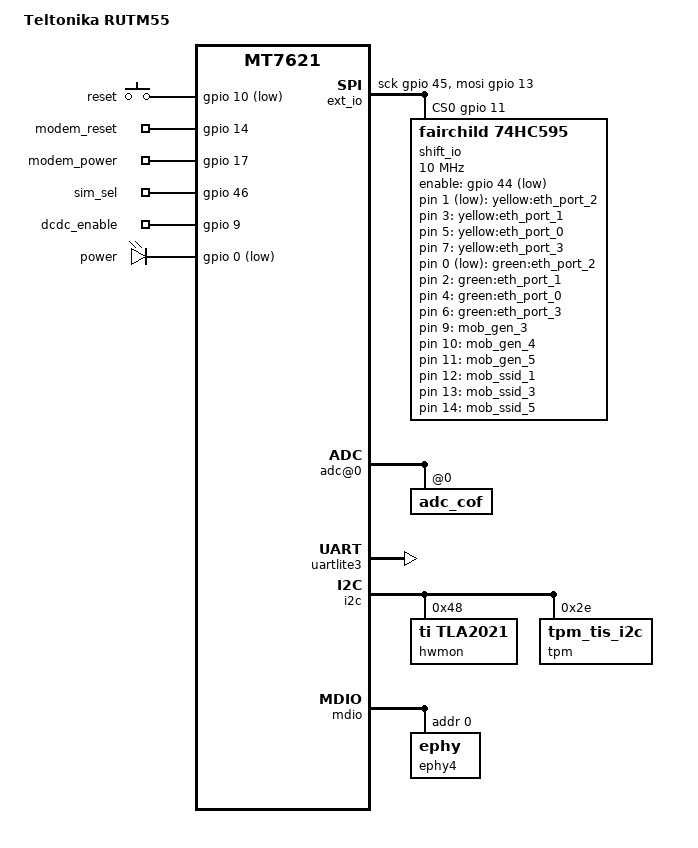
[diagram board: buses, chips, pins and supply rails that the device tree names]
#include "mt7621-teltonika-rutm-common.dtsi"

/ {
	compatible = "teltonika,rutm", "mediatek,mt7621-soc";
	model = "Teltonika RUTM55";

	ext_io {
		compatible = "spi-gpio";
		#address-cells = <1>;
		#size-cells = <0>;

		gpio-sck = <&gpio 45 GPIO_ACTIVE_HIGH>;	// 74HC595 SRCLK (Serial Clock)
		gpio-mosi = <&gpio 13 GPIO_ACTIVE_HIGH>;	// 74HC595 SER (Serial)
		cs-gpios = <&gpio 11 GPIO_ACTIVE_HIGH>;	// 74HC595 RCLK (Register Clock)
		num-chipselects = <1>;

		shift_io: shift_io@0 {
			compatible = "fairchild,74hc595";
			reg = <0>;
			gpio-controller;
			#gpio-cells = <2>;
			registers-number = <2>;
			spi-max-frequency = <10000000>;
			enable-gpios = <&gpio 44 GPIO_ACTIVE_LOW>;

		};
	};

	keys {
		compatible = "gpio-keys";

		reset {
			label = "reset";
			gpios = <&gpio 10 GPIO_ACTIVE_LOW>;
			linux,code = <KEY_RESTART>;
		};
	};

	gpio-export {
		compatible = "gpio-export";
		#size-cells = <0>;

		gpio_modem_reset {
			gpio-export,name = "modem_reset";
			gpio-export,output = <0>;
			gpios = <&gpio 14 GPIO_ACTIVE_HIGH>;
		};

		gpio_modem_power {
			gpio-export,name = "modem_power";
			gpio-export,output = <1>; // tmp
			gpios = <&gpio 17 GPIO_ACTIVE_HIGH>;
		};

		gpio_sim_select {
			gpio-export,name = "sim_sel";
			gpio-export,output = <1>;
			gpios = <&gpio 46 GPIO_ACTIVE_HIGH>;
		};

		gpio_dcdc_enable{
			gpio-export,name = "dcdc_enable";
			gpio-export,output = <0>;
			gpios = <&gpio 9 GPIO_ACTIVE_HIGH>;
		};

		/*--------------------*/
		/*-  FOR TEST BATCH  -*/
		/*--------------------*/
		/*yellow_eth_port_3 {*/
			/*gpio-export,name = "yellow:eth_port_3";*/
			/*gpio-export,output = <1>;*/
			/*gpios = <&shift_io 1 GPIO_ACTIVE_LOW>;*/
		/*};*/

		/*yellow_eth_port_2 {*/
			/*gpio-export,name = "yellow:eth_port_2";*/
			/*gpio-export,output = <0>;*/
			/*gpios = <&shift_io 3 GPIO_ACTIVE_HIGH>;*/
		/*};*/

		/*yellow_eth_port_1 {*/
			/*gpio-export,name = "yellow:eth_port_1";*/
			/*gpio-export,output = <0>;*/
			/*gpios = <&shift_io 5 GPIO_ACTIVE_HIGH>;*/
		/*};*/

		/*yellow_eth_port_0 {*/
			/*gpio-export,name = "yellow:eth_port_0";*/
			/*gpio-export,output = <0>;*/
			/*gpios = <&shift_io 7 GPIO_ACTIVE_HIGH>;*/
		/*};*/

		/*green_eth_port_3 {*/
			/*gpio-export,name = "green:eth_port_3";*/
			/*gpio-export,output = <1>;*/
			/*gpios = <&shift_io 0 GPIO_ACTIVE_LOW>;*/
		/*};*/

		/*green_eth_port_2 {*/
			/*gpio-export,name = "green:eth_port_2";*/
			/*gpio-export,output = <0>;*/
			/*gpios = <&shift_io 2 GPIO_ACTIVE_HIGH>;*/
		/*};*/

		/*green_eth_port_1 {*/
			/*gpio-export,name = "green:eth_port_1";*/
			/*gpio-export,output = <0>;*/
			/*gpios = <&shift_io 4 GPIO_ACTIVE_HIGH>;*/
		/*};*/

		/*green_eth_port_0 {*/
			/*gpio-export,name = "green:eth_port_0";*/
			/*gpio-export,output = <0>;*/
			/*gpios = <&shift_io 6 GPIO_ACTIVE_HIGH>;*/
		/*};*/
		/*------------------------*/
		/*-  FOR TEST BATCH END  -*/
		/*------------------------*/

		/*--------------------*/
		/*-  FOR PROTOTYPES  -*/
		/*--------------------*/
		yellow_eth_port_2 {
			gpio-export,name = "yellow:eth_port_2";
			gpio-export,output = <1>;
			gpios = <&shift_io 1 GPIO_ACTIVE_LOW>;
		};

		yellow_eth_port_1 {
			gpio-export,name = "yellow:eth_port_1";
			gpio-export,output = <0>;
			gpios = <&shift_io 3 GPIO_ACTIVE_HIGH>;
		};

		yellow_eth_port_0 {
			gpio-export,name = "yellow:eth_port_0";
			gpio-export,output = <0>;
			gpios = <&shift_io 5 GPIO_ACTIVE_HIGH>;
		};

		yellow_eth_port_3 {
			gpio-export,name = "yellow:eth_port_3";
			gpio-export,output = <0>;
			gpios = <&shift_io 7 GPIO_ACTIVE_HIGH>;
		};

		green_eth_port_2 {
			gpio-export,name = "green:eth_port_2";
			gpio-export,output = <1>;
			gpios = <&shift_io 0 GPIO_ACTIVE_LOW>;
		};

		green_eth_port_1 {
			gpio-export,name = "green:eth_port_1";
			gpio-export,output = <0>;
			gpios = <&shift_io 2 GPIO_ACTIVE_HIGH>;
		};

		green_eth_port_0 {
			gpio-export,name = "green:eth_port_0";
			gpio-export,output = <0>;
			gpios = <&shift_io 4 GPIO_ACTIVE_HIGH>;
		};

		green_eth_port_3 {
			gpio-export,name = "green:eth_port_3";
			gpio-export,output = <0>;
			gpios = <&shift_io 6 GPIO_ACTIVE_HIGH>;
		};
		/*------------------------*/
		/*-  FOR PROTOTYPES END  -*/
		/*------------------------*/
	};

	leds {
		compatible = "gpio-leds";

		led_power {
			label = "power";
			gpios = <&gpio 0 GPIO_ACTIVE_LOW>;
			default-state = "on";
			retain-state-shutdown;
		};

		led_gen_3 {
			label = "mob_gen_3";
			gpios = <&shift_io 9 GPIO_ACTIVE_HIGH>;
		};

		led_gen_4 {
			label = "mob_gen_4";
			gpios = <&shift_io 10 GPIO_ACTIVE_HIGH>;
		};

		led_gen_5 {
			label = "mob_gen_5";
			gpios = <&shift_io 11 GPIO_ACTIVE_HIGH>;
		};

		led_ssid_1 {
			label = "mob_ssid_1";
			gpios = <&shift_io 12 GPIO_ACTIVE_HIGH>;
			linux,default-trigger = "timer"; // only
		};

		led_ssid_3 {
			label = "mob_ssid_3";
			gpios = <&shift_io 13 GPIO_ACTIVE_HIGH>;
			linux,default-trigger = "timer"; // only
		};

		led_ssid_5 {
			label = "mob_ssid_5";
			gpios = <&shift_io 14 GPIO_ACTIVE_HIGH>;
			linux,default-trigger = "timer"; //only
		};
	};

	tlt_gpios { // Modify according to wiki page "DTS syntax with Libgpiod changes"
		gpiochip_info {
			hw_0 {
				hwver = <0>;
				gpiochip_count = <4>;

				gpiochip_0 = <32>; // Built-in
				gpiochip_1 = <32>; // Built-in
				gpiochip_2 = <32>; // Built-in
				gpiochip_3 = <16>; // Shift Register
			};
		};

		ioman {
			GPIO_16 {
				line_name = "GPIO_IN_1";
				active_low;
			};
			GPIO_111 {
				line_name = "GPIO_OUT_1";
			};
			GPIO_18 {
				line_name = "GPIO_ISOLATED_INPUT";
				active_low;
			};
			GPIO_12 {
				line_name = "GPIO_RELAY_CLOSE_1";
			};
		};

		ledman {
			GPIO_0 {
				line_name = "LED_POWER";
				active_low;
			};
			/*--------------------*/
			/*-  FOR PROTOTYPES  -*/
			/*--------------------*/
			GPIO_96 {
				line_name = "LED_ETH_GREEN_3";
				active_low;
			};
			GPIO_97 {
				line_name = "LED_ETH_YELLOW_3";
			};
			GPIO_98 {
				line_name = "LED_ETH_GREEN_2";
			};
			GPIO_99 {
				line_name = "LED_ETH_YELLOW_2";
			};
			GPIO_100 {
				line_name = "LED_ETH_GREEN_1";
			};
			GPIO_101 {
				line_name = "LED_ETH_YELLOW_1";
			};
			GPIO_102 {
				line_name = "LED_ETH_GREEN_4";
			};
			GPIO_103 {
				line_name = "LED_ETH_YELLOW_4";
			};
			/*----------------------*/
			/*-  FOR PROTOTYPES END-*/
			/*----------------------*/

			/*--------------------*/
			/*-  FOR TEST BATCH  -*/
			/*--------------------*/
			/*GPIO_96 {*/
				/*line_name = "LED_ETH_GREEN_4";*/
				/*active_low;*/
			/*};*/
			/*GPIO_97 {*/
				/*line_name = "LED_ETH_YELLOW_4";*/
			/*};*/
			/*GPIO_98 {*/
				/*line_name = "LED_ETH_GREEN_3";*/
			/*};*/
			/*GPIO_99 {*/
				/*line_name = "LED_ETH_YELLOW_3";*/
			/*};*/
			/*GPIO_100 {*/
				/*line_name = "LED_ETH_GREEN_2";*/
			/*};*/
			/*GPIO_101 {*/
				/*line_name = "LED_ETH_YELLOW_2";*/
			/*};*/
			/*GPIO_102 {*/
				/*line_name = "LED_ETH_GREEN_1";*/
			/*};*/
			/*GPIO_103 {*/
				/*line_name = "LED_ETH_YELLOW_1";*/
			/*};*/
			/*------------------------*/
			/*-  FOR TEST BATCH END  -*/
			/*------------------------*/
			GPIO_105 {
				line_name = "LED_TECH_GEN_3";
			};
			GPIO_106 {
				line_name = "LED_TECH_GEN_4";
			};
			GPIO_107 {
				line_name = "LED_TECH_GEN_5";
			};
			GPIO_108 {
				line_name = "LED_SSID_1";
			};
			GPIO_109 {
				line_name = "LED_SSID_3";
			};
			GPIO_110 {
				line_name = "LED_SSID_5";
			};
		};

		misc {
			GPIO_9 {
				line_name = "GPIO_DCDC_ENABLE";
			};
			GPIO_14 {
				line_name = "GPIO_MODEM_RESET_1";
			};
			GPIO_17 {
				line_name = "GPIO_MODEM_POWER_1";
			};
			GPIO_46 {
				line_name = "GPIO_SIM_SELECT";
			};
			GPIO_104 {
				line_name = "GPIO_RS485_RX_EN";
			};
		};
	};

	ioman {
		layout@0 {
			io@0 { // 16pin#1
				label = "din1";
				block_type = BLOCK_16PIN;
				block_pin = "1";
				web_str = "Digital Input";
				gpio_in = "GPIO_IN_1";
				io_param = "g2";
			};
			io@1 { // 16pin#2
				label = "iio";
				block_type = BLOCK_16PIN;
				block_pin = "2,10";
				gpio_in = "GPIO_ISOLATED_INPUT";
				io_param = "g3";
			};
			io@2 { // 16pin#3
				label = "dout1";
				block_type = BLOCK_16PIN;
				block_pin = "3,4,11";
				web_str = "Isolated Output";
				gpio_out = "GPIO_OUT_1";
				io_param = "g4";
			};
			relay@0 {
				label = "relay0";
				block_type = BLOCK_16PIN;
				block_pin = "5,13";
				gpio_close = "GPIO_RELAY_CLOSE_1";
				io_param = "g5";
			};
			adc@0 {
				label = "adc0";
				block_type = BLOCK_16PIN;
				block_pin = "6,9";
				tolerance = "0.05";
				path = "/sys/class/hwmon/hwmon0/device/in0_input";
				io_param = "g1";

				adc_cof@0 {
					divider = "128.160418482999"; //147.0 / 1147.0 * 1000.0
				};
			};
			acl@0 {
				label = "acl0";
				block_type = BLOCK_16PIN;
				block_pin = "6,9";
				tolerance = "0.00004";
				path = "/sys/class/hwmon/hwmon0/device/in0_input";
				io_param = "g0";

				adc_cof@0 {
					divider = "153792.502179599"; //147.0 / 1147.0 * 1000.0 * 1200.0
				};
			};
		};
	};
};

&state_default {
	gpio {
		groups = "wdt", "jtag", "sdhci", "uart2";
		function = "gpio";
	};
};

&switch0 {
	ports {
		port@1 {
			status = "okay";
			label = "lan1";
		};

		port@2 {
			status = "okay";
			label = "lan2";
		};

		port@3 {
			status = "okay";
			label = "lan3";
		};
	};
};

&mnfinfo {
	sim_cfg {
		default = "1111020_1112020";
	};
};

&uartlite3 {
	status = "okay";
};

&i2c {
	status = "okay";

	hwmon@0x48 {
		compatible = "ti,tla2021";
		reg = <0x48>;
	};

	tpm: tpm@0x2e {
		compatible = "tpm_tis_i2c";
		reg = <0x2e>;
		status = "okay";
	};
};

/*--------------------*/
/*-  FOR PROTOTYPES  -*/
/*--------------------*/

&mdio {
	ephy4: ephy@4 {
		reg = <0>;
	};
};
/*----------------------*/
/*-  FOR PROTOTYPES END-*/
/*----------------------*/
